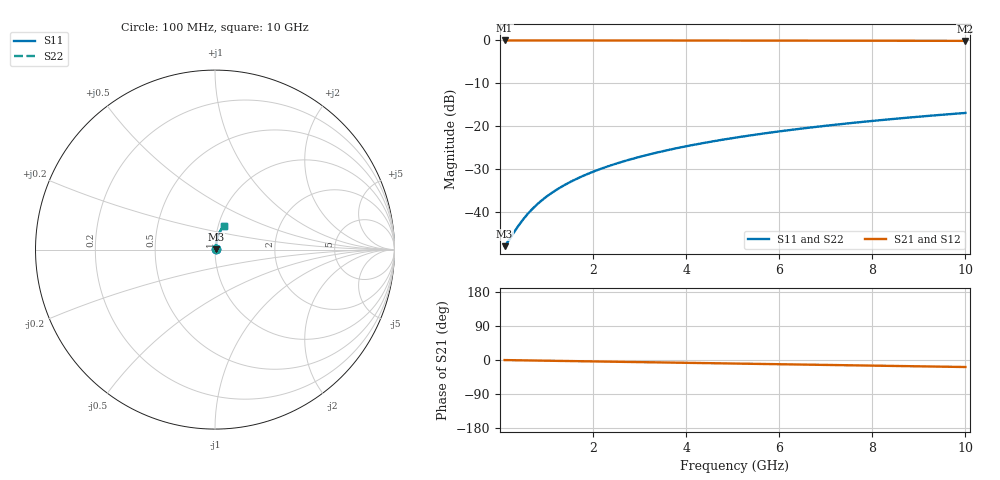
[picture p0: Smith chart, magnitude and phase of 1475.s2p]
# Hz S RI R 50.00
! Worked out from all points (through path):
!   100 points, 100 MHz to 10 GHz, reference 50 ohm
!   highest |S21| = -0.03 dB at 100 MHz (marker M1); lowest = -0.1 dB at 10 GHz (marker M2)
!   group delay of S21, straight-line fit = 5.14 ps
!   lowest |S11| = -48.0 dB at 100 MHz (marker M3), VSWR 1.01, Z = 50.4 + j0.145 ohm
!   |S11| at or under -10 dB: start of sweep to end of sweep
!   |S22| runs from -48.0 to -16.9 dB; largest |S21 - S12| = 0
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1e8  0.00371 0.00144  0.9963 -0.00323  0.9963 -0.00323  0.00371 0.00144
2e8  0.00375 0.00289  0.9962 -0.00646  0.9962 -0.00646  0.00375 0.00289
4e8  0.00384 0.00577  0.9961 -0.0129  0.9961 -0.0129  0.00384 0.00577
5e8  0.00389 0.00722  0.9961 -0.0162  0.9961 -0.0162  0.00389 0.00722
6e8  0.00395 0.00866  0.996 -0.0194  0.996 -0.0194  0.00395 0.00866
7e8  0.00402 0.0101  0.9959 -0.0226  0.9959 -0.0226  0.00402 0.0101
8e8  0.0041 0.0115  0.9958 -0.0258  0.9958 -0.0258  0.0041 0.0115
1e9  0.00428 0.0144  0.9955 -0.0323  0.9955 -0.0323  0.00428 0.0144
1.2e9  0.0045 0.0173  0.9952 -0.0387  0.9952 -0.0387  0.0045 0.0173
1.5e9  0.0049 0.0216  0.9947 -0.0484  0.9947 -0.0484  0.0049 0.0216
1.8e9  0.00538 0.0259  0.9941 -0.0581  0.9941 -0.0581  0.00538 0.0259
2.1e9  0.00594 0.0302  0.9933 -0.0677  0.9933 -0.0677  0.00594 0.0302
2.5e9  0.00681 0.0359  0.9921 -0.0806  0.9921 -0.0806  0.00681 0.0359
2.9e9  0.00783 0.0416  0.9908 -0.0934  0.9908 -0.0934  0.00783 0.0416
3.4e9  0.00932 0.0486  0.9888 -0.1094  0.9888 -0.1094  0.00932 0.0486
4.2e9  0.0122 0.0598  0.9849 -0.1349  0.9849 -0.1349  0.0122 0.0598
5.1e9  0.016 0.0721  0.9797 -0.1634  0.9797 -0.1634  0.016 0.0721
5.9e9  0.0201 0.0829  0.9742 -0.1885  0.9742 -0.1885  0.0201 0.0829
6.7e9  0.0246 0.0934  0.968 -0.2133  0.968 -0.2133  0.0246 0.0934
7.5e9  0.0298 0.1036  0.961 -0.2379  0.961 -0.2379  0.0298 0.1036
8.4e9  0.0361 0.1148  0.9523 -0.2653  0.9523 -0.2653  0.0361 0.1148
1e10  0.0489 0.1337  0.9347 -0.3128  0.9347 -0.3128  0.0489 0.1337
